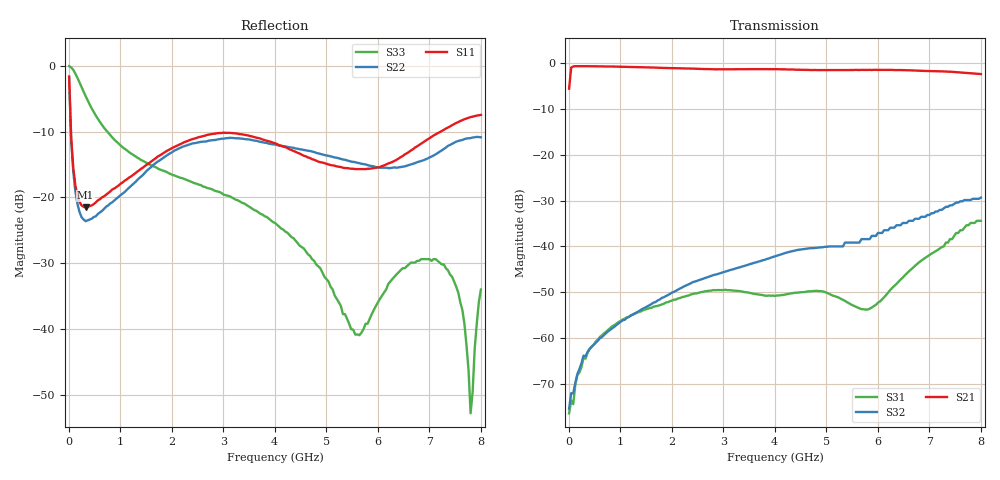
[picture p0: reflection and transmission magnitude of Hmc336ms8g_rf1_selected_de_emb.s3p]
!Hittite Microwave Corporation
!20 Alpha Rd
!Chelmsford, MA 01824
!Tel: 978-250-3343
!Fax: 978-250-3373
!Device: HMC336MS8G, DC - 6 GHz  SPDT Switch in  MSOP8G SMT package
!Misc: Port1=RFC, Port2= RF1, Port3=RF2, RF1 ON, Data taken on a part mounted on 104122-5 Eval PCB,Bias: +5VDC
# MHZ S MA R 50
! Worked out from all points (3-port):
!   201 points, 10 MHz to 8 GHz, reference 50 ohm
!   strongest paths, dB at 10 MHz, 2.007 GHz, 4.005 GHz, 6.003 GHz, 8 GHz:
!     S21: -5.6, -1.1, -1.4, -1.5, -2.4
!     S32: -75.4, -50.1, -42.2, -37.1, -29.4
!     S31: -76.4, -51.8, -50.8, -52.3, -34.4
!   lowest |S11| = -21.5 dB at 329.6 MHz (marker M1), VSWR 1.18, Z = 58.9 - j2.17 ohm
!   |S11| at or under -10 dB: 46.17 MHz to 7.223 GHz (7.176 GHz wide, 197 % of centre)
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10  0.828 -31.4  0.521 55.4  0.0001301 -149.2
    0.523 55.2  0.812 -32.5  8.896e-05 37.8
    0.0001517 -83.1  0.0001703 -104.0  0.991 -2.2
49.95  0.286 -60.3  0.886 14.8  0.0002578 101.0
       0.888 14.7  0.275 -63.8  0.0003545 72.7
       0.0002088 100.1  0.0002513 68.7  0.971 -11.2
329.6  0.084 -12.6  0.917 -7.0  0.000583 70.8
       0.919 -7.1  0.066 -17.8  0.0006212 62.0
       0.0005986 70.6  0.0006334 62.2  0.588 -50.0
1887.65  0.223 12.1  0.881 -51.6  0.002454 57.2
         0.88 -51.7  0.206 23.8  0.002889 76.3
         0.002445 57.1  0.002875 76.4  0.157 -43.6
4005  0.258 -41.2  0.854 -107.2  0.002889 24.9
      0.853 -107.3  0.252 -9.6  0.007775 57.4
      0.002885 24.5  0.007793 57.4  0.064 -8.4
5563.05  0.164 -91.5  0.837 -150.0  0.002226 -59.8
         0.838 -150.1  0.185 -65.3  0.011 42.2
         0.002216 -59.8  0.011 42.3  0.0091 -81.8
7280.9  0.326 -164.2  0.809 156.2  0.01 137.5
        0.806 156.3  0.233 -88.7  0.026 23.7
        0.01 137.4  0.026 23.6  0.031 -168.4
7640.45  0.386 -172.6  0.784 144.2  0.015 123.8
         0.782 144.2  0.273 -97.0  0.031 11.3
         0.015 123.6  0.031 11.2  0.014 -161.1
7800.25  0.407 -176.4  0.772 139.1  0.018 114.0
         0.77 139.0  0.282 -100.6  0.033 5.1
         0.018 113.9  0.032 4.9  0.002298 -93.2
8000  0.423 179.2  0.758 132.9  0.019 102.7
      0.755 132.9  0.286 -106.1  0.034 -2.4
      0.019 102.7  0.034 -2.4  0.02 3.9
